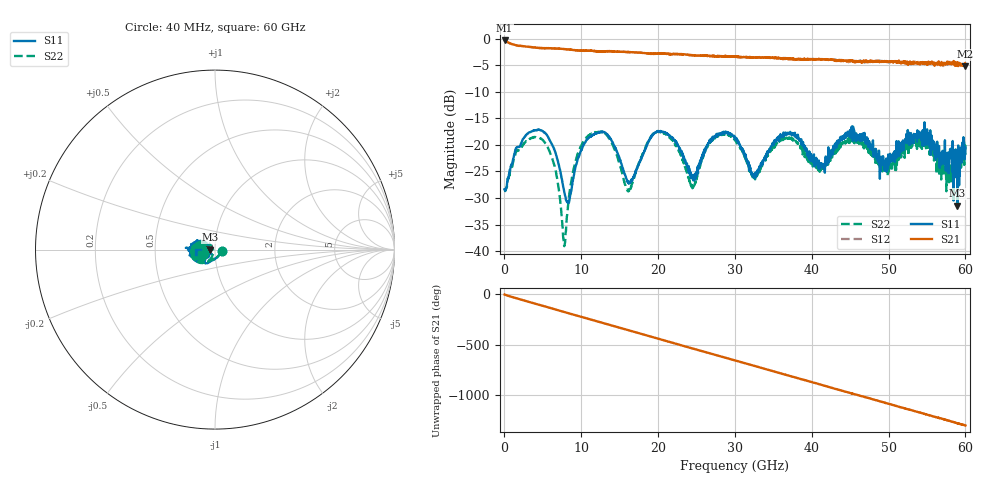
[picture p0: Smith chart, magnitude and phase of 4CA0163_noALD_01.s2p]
! File created by 'SoftPlot +Plus+ Measurement Management Software'
! SoftPlot +Plus+ Measurement Management Software
! Start 40.000000 MHz  Stop 60.000000 GHz  Points 1601
# MHZ S RI R 50
! S-Parameter data, F S11 S21 S12 S22
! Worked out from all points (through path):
!   1601 points, 40 MHz to 60 GHz, reference 50 ohm
!   highest |S21| = -0.35 dB at 40 MHz (marker M1); lowest = -5.2 dB at 59.93 GHz (marker M2)
!   group delay of S21, straight-line fit = 59.8 ps
!   lowest |S11| = -31.4 dB at 58.95 GHz (marker M3), VSWR 1.06, Z = 47.4 - j0.0801 ohm
!   |S11| at or under -10 dB: start of sweep to end of sweep
!   |S22| runs from -39.1 to -17.5 dB; largest |S21 - S12| = 0.053
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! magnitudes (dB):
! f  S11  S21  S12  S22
! 40 MHz  -28.4  -0.4  -0.4  -28.2
! 1.614 GHz  -20.5  -1.3  -1.3  -21.1
! 4.837 GHz  -17.3  -1.8  -1.8  -18.9
! 6.561 GHz  -21.1  -1.8  -1.9  -24.2
! 7.835 GHz  -29.1  -2.0  -2.0  -39.0
! 8.434 GHz  -30.7  -2.0  -2.0  -29.5
! 10.05 GHz  -21.0  -2.3  -2.3  -20.1
! 13.19 GHz  -17.8  -2.4  -2.4  -18.0
! 16.15 GHz  -27.2  -2.5  -2.5  -28.5
! 20.05 GHz  -17.6  -2.8  -2.7  -17.5
! 24.55 GHz  -26.2  -3.2  -3.1  -28.1
! 27.02 GHz  -19.2  -3.3  -3.2  -19.1
! 30.02 GHz  -18.7  -3.4  -3.4  -19.0
! 32.49 GHz  -26.0  -3.6  -3.6  -26.2
! 36.58 GHz  -18.0  -3.8  -3.8  -18.5
! 40.03 GHz  -22.8  -3.8  -3.9  -23.1
! 45.23 GHz  -16.5  -4.1  -4.1  -19.1
! 50.03 GHz  -23.7  -4.4  -4.5  -25.0
! 54.04 GHz  -18.2  -4.6  -4.7  -20.1
! 58.95 GHz  -31.4  -4.4  -4.7  -26.4
! 59.93 GHz  -21.0  -5.2  -4.9  -22.4
! 60 GHz  -20.5  -5.1  -5.1  -21.8
